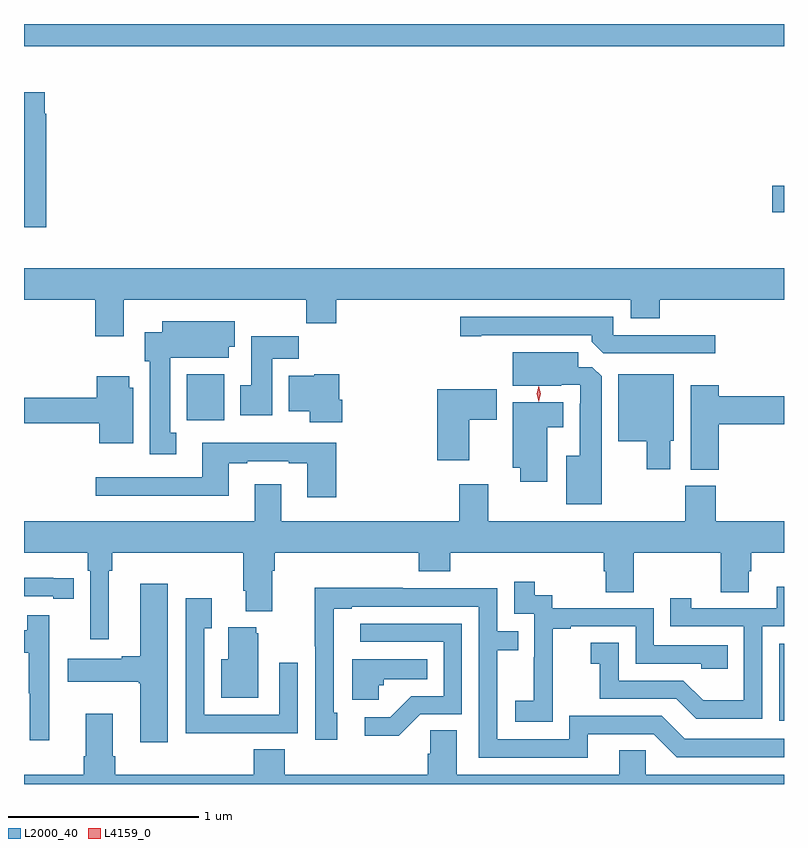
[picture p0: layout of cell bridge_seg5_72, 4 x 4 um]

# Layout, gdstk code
import gdstk
lib = gdstk.Library(unit=1e-6, precision=1e-09)
def R(c, l, rs):  # rectangles x0, y0, x1, y1
    for r in rs: c.add(gdstk.rectangle(r[:2], r[2:], *l))
def P(c, l, *ps):  # polygons
    for p in ps: c.add(gdstk.Polygon(p, *l))
L2000_40 = (2000, 40)
L4159_0 = (4159, 0)

bridge_seg5_72 = lib.new_cell('bridge_seg5_72')
R(bridge_seg5_72, L2000_40, [(140.73,899.832,140.755,900.237), (137.612,901.412,137.809,901.654), (140.694,902.506,140.755,902.648), (136.755,903.38,140.755,903.498)])
P(bridge_seg5_72, L2000_40, [(136.871,903.026),(136.864,903.026),(136.864,903.139),(136.755,903.139),(136.755,902.429),(136.871,902.429)],
  [(137.281,902.048),(138.241,902.048),(138.241,901.924),(138.398,901.924),(138.398,902.048),(139.949,902.048),(139.949,901.949),(140.102,901.949),(140.102,902.048),(140.755,902.048),(140.755,902.212),(136.755,902.212),(136.755,902.048),(137.129,902.048),(137.129,901.854),(137.281,901.854)],
  [(140.392,901.86),(139.857,901.86),(139.857,901.956),(139.05,901.956),(139.05,901.855),(139.162,901.855),(139.162,901.86),(139.742,901.86),(139.742,901.826),(139.803,901.764),(140.392,901.764)],
  [(137.557,901.346),(137.524,901.346),(137.524,901.742),(137.833,901.742),(137.833,901.799),(137.863,901.799),(137.863,901.933),(137.483,901.933),(137.483,901.876),(137.39,901.876),(137.39,901.722),(137.417,901.722),(137.417,901.233),(137.557,901.233)],
  [(138.061,901.736),(138.2,901.736),(138.2,901.854),(137.951,901.854),(137.951,901.596),(137.894,901.596),(137.894,901.44),(138.061,901.44)],
  [(139.795,901.643),(139.746,901.692),(139.672,901.692),(139.672,901.771),(139.328,901.771),(139.328,901.595),(139.583,901.595),(139.583,901.599),(139.683,901.599),(139.683,901.499),(139.679,901.499),(139.679,901.225),(139.61,901.225),(139.61,900.971),(139.795,900.971)],
  [(140.155,901.305),(140.176,901.305),(140.176,901.654),(139.883,901.654),(139.883,901.301),(140.033,901.301),(140.033,901.155),(140.155,901.155)],
  [(138.431,901.521),(138.413,901.521),(138.413,901.654),(138.282,901.654),(138.282,901.648),(138.149,901.648),(138.149,901.46),(138.26,901.46),(138.26,901.403),(138.431,901.403)],
  [(137.329,901.584),(137.308,901.584),(137.308,901.645),(137.138,901.645),(137.138,901.532),(136.755,901.532),(136.755,901.396),(137.15,901.396),(137.15,901.292),(137.329,901.292)],
  [(140.411,901.391),(140.755,901.391),(140.755,901.538),(140.411,901.538),(140.411,901.597),(140.264,901.597),(140.264,901.153),(140.411,901.153)],
  [(139.099,901.414),(139.243,901.414),(139.243,901.576),(138.929,901.576),(138.929,901.203),(139.099,901.203)],
  [(139.51,901.376),(139.594,901.376),(139.594,901.507),(139.328,901.507),(139.328,901.163),(139.367,901.163),(139.367,901.089),(139.51,901.089)],
  [(138.398,901.294),(137.693,901.294),(137.693,901.113),(137.133,901.113),(137.133,901.016),(137.833,901.016),(137.833,901.185),(137.929,901.185),(137.929,901.197),(138.149,901.197),(138.149,901.185),(138.245,901.185),(138.245,901.008),(138.398,901.008)],
  [(137.969,900.88),(136.755,900.88),(136.755,900.716),(137.09,900.716),(137.09,900.62),(137.103,900.62),(137.103,900.261),(137.2,900.261),(137.2,900.62),(137.219,900.62),(137.219,900.716),(137.909,900.716),(137.909,900.514),(137.921,900.514),(137.921,900.407),(138.061,900.407),(138.061,900.62),(138.074,900.62),(138.074,900.716),(138.833,900.716),(138.833,900.617),(138.998,900.617),(138.998,900.716),(139.805,900.716),(139.805,900.618),(139.817,900.618),(139.817,900.508),(139.965,900.508),(139.965,900.716),(140.422,900.716),(140.422,900.508),(140.569,900.508),(140.569,900.618),(140.582,900.618),(140.582,900.716),(140.755,900.716),(140.755,900.88),(140.396,900.88),(140.396,901.068),(140.236,901.068),(140.236,900.88),(139.198,900.88),(139.198,901.075),(139.046,901.075),(139.046,900.88),(138.109,900.88),(138.109,901.075),(137.969,901.075)],
  [(137.018,900.582),(136.91,900.582),(136.91,900.583),(136.755,900.583),(136.755,900.486),(136.91,900.486),(136.91,900.474),(137.018,900.474)],
  [(139.539,900.031),(139.538,900.031),(139.538,900.315),(139.633,900.315),(139.633,900.327),(139.974,900.327),(139.974,900.132),(140.319,900.132),(140.319,900.105),(140.459,900.105),(140.459,900.228),(140.07,900.228),(140.07,900.423),(139.536,900.423),(139.536,900.492),(139.444,900.492),(139.444,900.562),(139.335,900.562),(139.335,900.393),(139.44,900.393),(139.44,900.164),(139.439,900.164),(139.439,899.935),(139.341,899.935),(139.341,899.825),(139.539,899.825)],
  [(137.512,900.553),(137.366,900.553),(137.366,900.17),(137.27,900.17),(137.27,900.157),(136.986,900.157),(136.986,900.035),(137.359,900.035),(137.359,900.028),(137.366,900.028),(137.366,899.718),(137.512,899.718)],
  [(140.64,900.327),(140.755,900.327),(140.755,900.535),(140.717,900.535),(140.717,900.423),(140.266,900.423),(140.266,900.475),(140.155,900.475),(140.155,900.327),(140.544,900.327),(140.544,899.938),(140.33,899.938),(140.226,900.042),(139.884,900.042),(139.884,900.241),(139.737,900.241),(139.737,900.131),(139.786,900.131),(139.786,899.946),(140.189,899.946),(140.294,899.841),(140.64,899.841)],
  [(139.723,899.76),(140.07,899.76),(140.19,899.64),(140.755,899.64),(140.755,899.736),(140.232,899.736),(140.112,899.856),(139.626,899.856),(139.626,899.733),(139.245,899.733),(139.245,900.202),(139.355,900.202),(139.355,900.303),(139.245,900.303),(139.245,900.528),(138.749,900.528),(138.749,900.53),(138.286,900.53),(138.286,900.223),(138.288,900.223),(138.288,899.73),(138.403,899.73),(138.403,899.874),(138.384,899.874),(138.384,900.42),(138.481,900.42),(138.481,900.432),(139.149,900.432),(139.149,899.637),(139.723,899.637)],
  [(137.879,899.766),(138.195,899.766),(138.195,900.136),(138.099,900.136),(138.099,899.862),(137.703,899.862),(137.703,900.319),(137.743,900.319),(137.743,900.475),(137.607,900.475),(137.607,899.765),(137.879,899.765)],
  [(136.889,899.939),(136.887,899.939),(136.887,900.385),(136.771,900.385),(136.771,900.306),(136.755,900.306),(136.755,900.19),(136.779,900.19),(136.779,899.976),(136.786,899.976),(136.786,899.727),(136.889,899.727)],
  [(138.84,899.865),(139.059,899.865),(139.059,900.342),(138.525,900.342),(138.525,900.246),(138.963,900.246),(138.963,899.961),(138.794,899.961),(138.683,899.85),(138.549,899.85),(138.549,899.753),(138.727,899.753)],
  [(137.989,900.291),(137.978,900.291),(137.978,900.322),(137.831,900.322),(137.831,900.154),(137.792,900.154),(137.792,899.951),(137.989,899.951)],
  [(138.621,900.018),(138.648,900.018),(138.648,900.05),(138.878,900.05),(138.878,900.154),(138.482,900.154),(138.482,899.942),(138.621,899.942)],
  [(140.755,899.548),(140.028,899.548),(140.028,899.675),(139.889,899.675),(139.889,899.548),(139.033,899.548),(139.033,899.78),(138.894,899.78),(138.894,899.657),(138.881,899.657),(138.881,899.548),(138.128,899.548),(138.128,899.681),(137.963,899.681),(137.963,899.548),(137.234,899.548),(137.234,899.644),(137.221,899.644),(137.221,899.869),(137.081,899.869),(137.081,899.644),(137.069,899.644),(137.069,899.548),(136.755,899.548),(136.755,899.498),(140.755,899.498)])
P(bridge_seg5_72, L4159_0, [(139.465,901.51),(139.464,901.511),(139.454,901.551),(139.464,901.591),(139.464,901.591),(139.464,901.591),(139.474,901.551),(139.465,901.511)])

lib.write_gds('bridge_seg5_72.gds')
